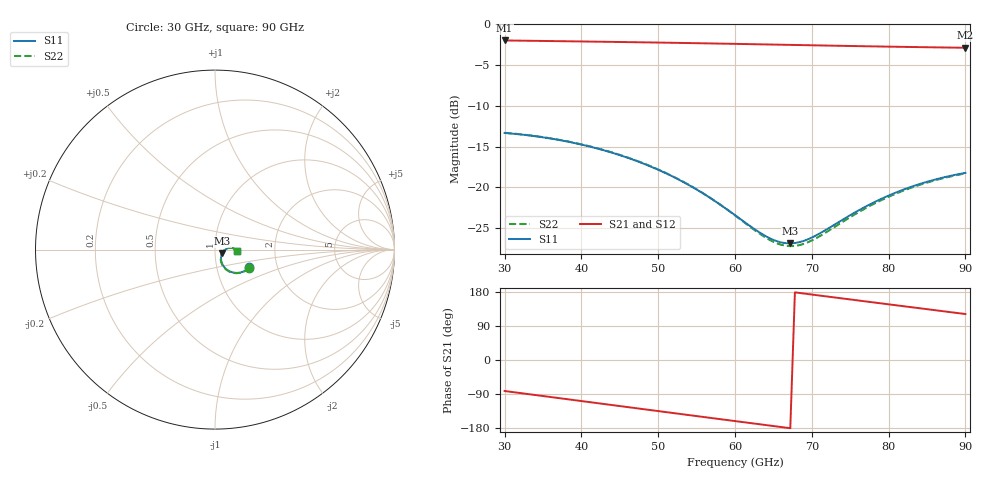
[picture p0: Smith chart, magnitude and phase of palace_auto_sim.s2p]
#  GHZ S DB R 50
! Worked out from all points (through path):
!   101 points, 30 GHz to 90 GHz, reference 50 ohm
!   highest |S21| = -1.99 dB at 30 GHz (marker M1); lowest = -2.9 dB at 90 GHz (marker M2)
!   group delay of S21, straight-line fit = 7.27 ps
!   lowest |S11| = -26.9 dB at 67.2 GHz (marker M3), VSWR 1.10, Z = 54.2 - j2.16 ohm
!   |S11| at or under -10 dB: start of sweep to end of sweep
!   |S22| runs from -27.2 to -13.3 dB; largest |S21 - S12| = 0
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30  -13.33 -27.3  -1.99 -81.8  -1.99 -81.8  -13.31 -27.6
32.4  -13.54 -31.6  -2.02 -88.2  -2.02 -88.2  -13.52 -32.0
34.8  -13.84 -35.9  -2.05 -94.5  -2.05 -94.5  -13.81 -36.3
37.2  -14.21 -40.1  -2.08 -100.9  -2.08 -100.9  -14.18 -40.6
40.2  -14.79 -45.3  -2.12 -108.8  -2.12 -108.8  -14.76 -45.8
45  -16.05 -53.0  -2.18 -121.6  -2.18 -121.6  -16.01 -53.7
47.4  -16.84 -56.4  -2.21 -127.9  -2.21 -127.9  -16.80 -57.2
50.4  -18.01 -60.0  -2.26 -135.9  -2.26 -135.9  -17.97 -60.9
55.2  -20.37 -63.1  -2.33 -148.5  -2.33 -148.5  -20.34 -64.4
57.6  -21.81 -62.5  -2.37 -154.8  -2.37 -154.8  -21.80 -64.1
60  -23.40 -59.4  -2.41 -161.2  -2.41 -161.2  -23.43 -61.3
62.4  -25.02 -52.7  -2.45 -167.4  -2.45 -167.4  -25.13 -54.8
64.2  -26.07 -44.5  -2.48 -172.2  -2.48 -172.2  -26.27 -46.7
66  -26.74 -33.8  -2.51 -176.9  -2.51 -176.9  -27.03 -35.8
67.2  -26.86 -26.0  -2.53 -180.0  -2.53 -180.0  -27.20 -27.7
68.4  -26.71 -18.5  -2.56 176.9  -2.56 176.9  -27.07 -19.6
70.2  -26.05 -8.7  -2.59 172.2  -2.59 172.2  -26.41 -9.2
75  -23.41 4.9  -2.67 159.8  -2.67 159.8  -23.65 5.2
78  -21.88 6.7  -2.72 152.1  -2.72 152.1  -22.05 7.1
80.4  -20.84 6.2  -2.76 145.9  -2.76 145.9  -20.99 6.5
85.2  -19.26 2.1  -2.82 133.6  -2.82 133.6  -19.36 2.3
90  -18.22 -4.1  -2.89 121.3  -2.89 121.3  -18.29 -4.0
